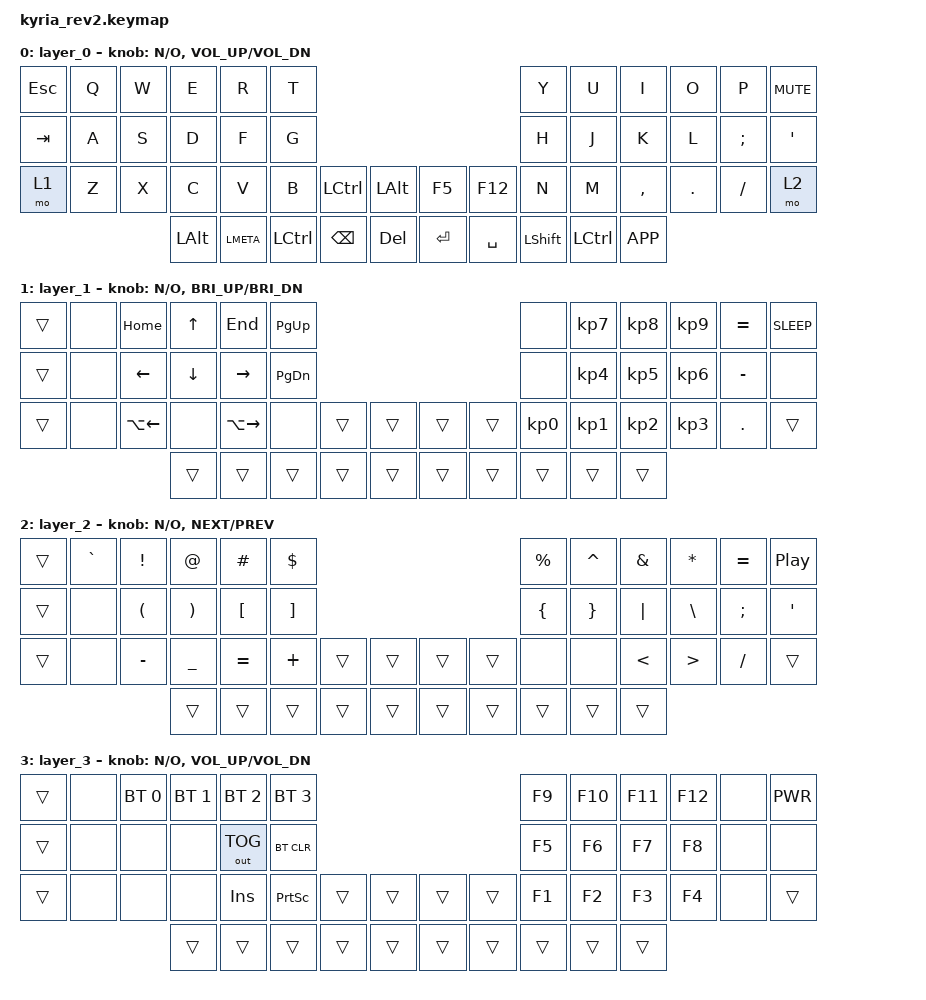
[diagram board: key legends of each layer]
/*
 * Copyright (c) 2020 The ZMK Contributors
 *
 * SPDX-License-Identifier: MIT
 */

#include <behaviors.dtsi>
#include <dt-bindings/zmk/keys.h>
#include <dt-bindings/zmk/bt.h>
#include <dt-bindings/zmk/outputs.h>

/* &bt (bluetooth) reference
 * BT_CLR	Clear bond information between the keyboard and host for the selected profile.
 * BT_NXT	Switch to the next profile, cycling through to the first one when the end is reached.
 * BT_PRV	Switch to the previous profile, cycling through to the last one when the beginning is reached.
 * BT_SEL	Select the 0-indexed profile by number. Please note: this definition must include a number as an argument in the keymap to work correctly. eg. BT_SEL 0
 */

/ {
// 	// example combos from docs:
// 	combos {
// 		compatible = "zmk,combos";
// 		combo_esc {
// 			timeout-ms = <50>;
// 			key-positions = <0 1>;
// 			bindings = <&kp ESC>;
// 		};
// 	};
	
	// example conditional layers from docs:
	conditional_layers {
		compatible = "zmk,conditional-layers";
		tri_layer {
			if-layers = <1 2>;
			then-layer = <3>;
		};
	};
	
	keymap {
// no I'm not tabbing these an extra 8-16 characters longer than they already are
compatible = "zmk,keymap";

layer_0 { // the default layer
bindings = <
// ╭──────────┬──────────┬──────────┬──────────┬──────────┬──────────╮                                               ╭──────────┬──────────┬──────────┬──────────┬──────────┬──────────╮
     &kp ESC     &kp Q      &kp W      &kp E      &kp R      &kp T                                                      &kp Y      &kp U      &kp I      &kp O      &kp P    &kp C_MUTE
// ├──────────┼──────────┼──────────┼──────────┼──────────┼──────────┤                                               ├──────────┼──────────┼──────────┼──────────┼──────────┼──────────┤
     &kp TAB     &kp A      &kp S      &kp D      &kp F      &kp G                                                      &kp H      &kp J      &kp K      &kp L     &kp SEMI   &kp SQT
// ├──────────┼──────────┼──────────┼──────────┼──────────┼──────────┼──────────┬──────────╮   ╭──────────┬──────────┼──────────┼──────────┼──────────┼──────────┼──────────┼──────────┤
      &mo 1      &kp Z      &kp X      &kp C      &kp V      &kp B    &kp LCTRL   &kp LALT       &kp F5     &kp F12     &kp N      &kp M    &kp COMMA   &kp DOT    &kp FSLH    &mo 2
// ╰──────────┴──────────┴──────────┼──────────┼──────────┼──────────┼──────────┼──────────┤   ├──────────┼──────────┼──────────┼──────────┼──────────┼──────────┴──────────┴──────────╯
                                     &kp LALT   &kp LMETA  &kp LCTRL   &kp BSPC   &kp DEL       &kp ENTER  &kp SPACE  &kp LSHFT  &kp LCTRL  &kp K_APP
//                                  ╰──────────┴──────────┴──────────┴──────────┴──────────╯   ╰──────────┴──────────┴──────────┴──────────┴──────────╯
>;
sensor-bindings = <&inc_dec_kp N O &inc_dec_kp C_VOL_UP C_VOL_DN>; // volume up/down and mute (knob is on top right corner - N O left side knob)
}; // END layer_0



layer_1 { // navigation and numpad
bindings = <
// ╭──────────┬──────────┬──────────┬──────────┬──────────┬──────────╮                                               ╭──────────┬──────────┬──────────┬──────────┬──────────┬──────────╮
      &trans     &none     &kp HOME    &kp UP    &kp END   &kp PG_UP                                                    &none    &kp KP_N7  &kp KP_N8  &kp KP_N9  &kp EQUAL &kp C_SLEEP
// ├──────────┼──────────┼──────────┼──────────┼──────────┼──────────┤                                               ├──────────┼──────────┼──────────┼──────────┼──────────┼──────────┤
      &trans     &none     &kp LEFT   &kp DOWN  &kp RIGHT  &kp PG_DN                                                    &none    &kp KP_N4  &kp KP_N5  &kp KP_N6  &kp MINUS    &none
// ├──────────┼──────────┼──────────┼──────────┼──────────┼──────────┼──────────┬──────────╮   ╭──────────┬──────────┼──────────┼──────────┼──────────┼──────────┼──────────┼──────────┤
      &trans     &none   &kp LA(LEFT)  &none   &kp LA(RIGHT) &none      &trans     &trans         &trans     &trans   &kp KP_N0  &kp KP_N1  &kp KP_N2  &kp KP_N3   &kp DOT     &trans
// ╰──────────┴──────────┴──────────┼──────────┼──────────┼──────────┼──────────┼──────────┤   ├──────────┼──────────┼──────────┼──────────┼──────────┼──────────┴──────────┴──────────╯
                                       &trans     &trans     &trans     &trans     &trans         &trans     &trans     &trans     &trans     &trans
//                                  ╰──────────┴──────────┴──────────┴──────────┴──────────╯   ╰──────────┴──────────┴──────────┴──────────┴──────────╯
>;
sensor-bindings = <&inc_dec_kp N O &inc_dec_kp C_BRI_UP C_BRI_DN>; // brightness and sleep
}; // END layer_1

layer_2 { // symbols and braces
bindings = <
// ╭──────────┬──────────┬──────────┬──────────┬──────────┬──────────╮                                               ╭──────────┬──────────┬──────────┬──────────┬──────────┬──────────╮
      &trans   &kp GRAVE   &kp EXCL    &kp AT    &kp HASH   &kp DLLR                                                  &kp PRCNT  &kp CARET   &kp AMPS  &kp ASTRK  &kp EQUAL   &kp C_PP
// ├──────────┼──────────┼──────────┼──────────┼──────────┼──────────┤                                               ├──────────┼──────────┼──────────┼──────────┼──────────┼──────────┤
      &trans     &none     &kp LPAR   &kp RPAR   &kp LBKT   &kp RBKT                                                   &kp LBRC   &kp RBRC   &kp PIPE   &kp BSLH   &kp SEMI   &kp SQT
// ├──────────┼──────────┼──────────┼──────────┼──────────┼──────────┼──────────┬──────────╮   ╭──────────┬──────────┼──────────┼──────────┼──────────┼──────────┼──────────┼──────────┤
      &trans     &none    &kp MINUS  &kp UNDER  &kp EQUAL   &kp PLUS    &trans     &trans         &trans     &trans     &none      &none      &kp LT     &kp GT    &kp FSLH    &trans
// ╰──────────┴──────────┴──────────┼──────────┼──────────┼──────────┼──────────┼──────────┤   ├──────────┼──────────┼──────────┼──────────┼──────────┼──────────┴──────────┴──────────╯
                                       &trans     &trans     &trans     &trans     &trans         &trans     &trans     &trans     &trans     &trans
//                                  ╰──────────┴──────────┴──────────┴──────────┴──────────╯   ╰──────────┴──────────┴──────────┴──────────┴──────────╯
>;
sensor-bindings = <&inc_dec_kp N O &inc_dec_kp C_NEXT C_PREV>; // skip/rewind tracks and pause/play
}; // END layer_2

layer_3 { // funciton keys and bluetooth
bindings = <
// ╭──────────┬──────────┬──────────┬──────────┬──────────┬──────────╮                                               ╭──────────┬──────────┬──────────┬──────────┬──────────┬──────────╮
      &trans    &none  &bt BT_SEL 0 &bt BT_SEL 1 &bt BT_SEL 2 &bt BT_SEL 3                                             &kp F9     &kp F10    &kp F11    &kp F12     &none    &kp C_PWR
// ├──────────┼──────────┼──────────┼──────────┼──────────┼──────────┤                                               ├──────────┼──────────┼──────────┼──────────┼──────────┼──────────┤
      &trans     &none      &none      &none   &out OUT_TOG &bt BT_CLR                                                  &kp F5     &kp F6     &kp F7     &kp F8     &none      &none
// ├──────────┼──────────┼──────────┼──────────┼──────────┼──────────┼──────────┬──────────╮   ╭──────────┬──────────┼──────────┼──────────┼──────────┼──────────┼──────────┼──────────┤
      &trans     &none      &none      &none     &kp INS   &kp PSCRN    &trans     &trans         &trans     &trans     &kp F1     &kp F2     &kp F3     &kp F4     &none      &trans
// ╰──────────┴──────────┴──────────┼──────────┼──────────┼──────────┼──────────┼──────────┤   ├──────────┼──────────┼──────────┼──────────┼──────────┼──────────┴──────────┴──────────╯
                                       &trans     &trans     &trans     &trans     &trans         &trans     &trans     &trans     &trans     &trans
//                                  ╰──────────┴──────────┴──────────┴──────────┴──────────╯   ╰──────────┴──────────┴──────────┴──────────┴──────────╯
>;
sensor-bindings = <&inc_dec_kp N O &inc_dec_kp C_VOL_UP C_VOL_DN>; // brightness and power-off
}; // END layer_3

}; // END keymap
}; // END /
